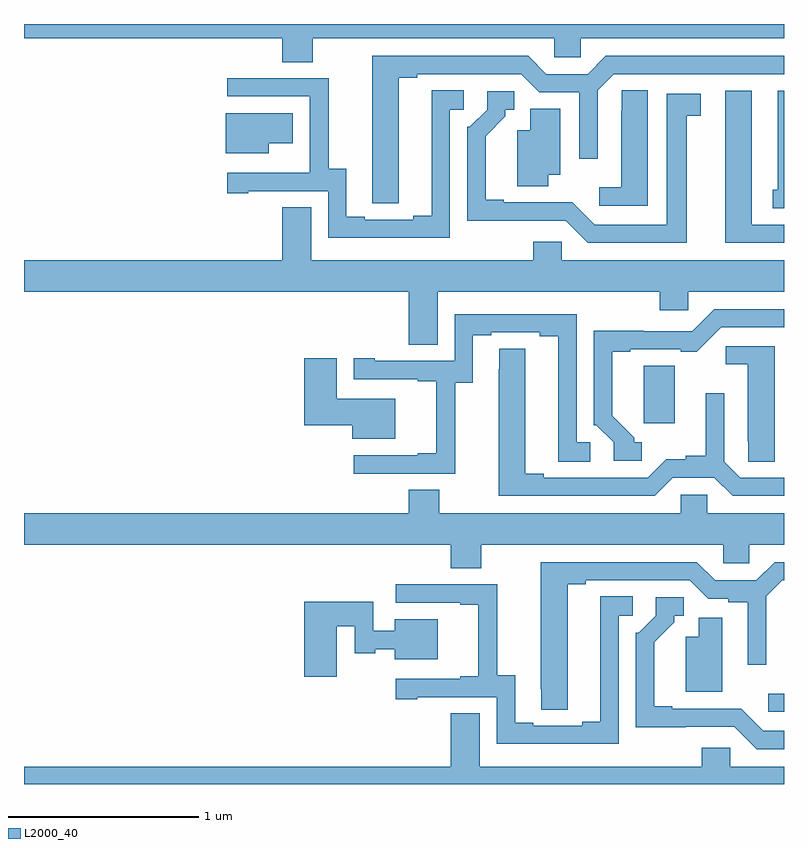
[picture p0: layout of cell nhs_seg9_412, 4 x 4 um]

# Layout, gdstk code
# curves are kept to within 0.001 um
import gdstk
lib = gdstk.Library(unit=1e-6, precision=1e-09)
def R(c, l, rs):  # rectangles x0, y0, x1, y1
    for r in rs: c.add(gdstk.rectangle(r[:2], r[2:], *l))
def P(c, l, *ps):  # polygons
    for p in ps: c.add(gdstk.Polygon(p, *l))
L2000_40 = (2000, 40)

nhs_seg9_412 = lib.new_cell('nhs_seg9_412')
R(nhs_seg9_412, L2000_40, [(134.916,1188.879,135,1188.976)])
P(nhs_seg9_412, L2000_40, [(132.519,1192.424),(133.791,1192.424),(133.791,1192.326),(133.929,1192.326),(133.929,1192.424),(135,1192.424),(135,1192.5),(131,1192.5),(131,1192.424),(132.359,1192.424),(132.359,1192.3),(132.519,1192.3)],
  [(132.973,1192.216),(133.069,1192.216),(133.069,1192.236),(133.617,1192.236),(133.713,1192.14),(133.923,1192.14),(133.923,1191.792),(134.019,1191.792),(134.019,1192.152),(134.103,1192.236),(135,1192.236),(135,1192.332),(134.063,1192.332),(133.967,1192.236),(133.749,1192.236),(133.653,1192.332),(132.833,1192.332),(132.834,1191.556),(132.973,1191.556)],
  [(133.242,1192.05),(133.315,1192.05),(133.315,1192.151),(133.145,1192.151),(133.145,1191.491),(133.049,1191.491),(133.049,1191.471),(132.793,1191.471),(132.793,1191.486),(132.697,1191.486),(132.697,1191.737),(132.603,1191.737),(132.603,1192.215),(132.069,1192.215),(132.069,1192.119),(132.504,1192.119),(132.504,1191.718),(132.503,1191.718),(132.503,1191.717),(132.069,1191.717),(132.069,1191.609),(132.181,1191.609),(132.181,1191.621),(132.6,1191.621),(132.6,1191.375),(133.242,1191.375)],
  [(134.284,1192.151),(134.145,1192.151),(134.145,1192.043),(134.144,1192.043),(134.144,1191.64),(134.028,1191.64),(134.028,1191.543),(134.284,1191.543)],
  [(135,1191.444),(134.83,1191.444),(134.83,1192.15),(134.69,1192.15),(134.69,1191.348),(135,1191.348)],
  [(135,1192.15),(134.966,1192.15),(134.966,1191.627),(134.942,1191.627),(134.942,1191.529),(135,1191.529)],
  [(134.488,1192.018),(134.563,1192.018),(134.563,1192.134),(134.384,1192.134),(134.384,1191.444),(134.004,1191.444),(133.886,1191.562),(133.525,1191.561),(133.525,1191.574),(133.429,1191.574),(133.429,1191.91),(133.534,1192.015),(133.534,1192.05),(133.579,1192.05),(133.579,1192.146),(133.437,1192.146),(133.437,1192.05),(133.347,1191.96),(133.332,1191.96),(133.332,1191.464),(133.851,1191.465),(133.968,1191.348),(134.488,1191.348)],
  [(133.759,1191.707),(133.822,1191.707),(133.822,1192.055),(133.664,1192.055),(133.664,1191.94),(133.595,1191.94),(133.595,1191.646),(133.759,1191.646)],
  [(132.289,1191.872),(132.415,1191.872),(132.415,1192.03),(132.062,1192.03),(132.062,1191.821),(132.289,1191.821)],
  [(133.679,1191.354),(133.679,1191.256),(132.511,1191.256),(132.511,1191.536),(132.359,1191.536),(132.359,1191.256),(131,1191.256),(131,1191.092),(133.025,1191.092),(133.025,1190.812),(133.177,1190.812),(133.177,1191.092),(134.345,1191.092),(134.345,1190.994),(134.496,1190.994),(134.496,1191.092),(135,1191.092),(135,1191.256),(133.83,1191.256),(133.83,1191.354)],
  [(134.251,1190.298),(134.212,1190.298),(134.212,1190.322),(134.095,1190.438),(134.095,1190.775),(134.191,1190.775),(134.191,1190.787),(134.456,1190.787),(134.456,1190.776),(134.542,1190.776),(134.67,1190.904),(135,1190.904),(135,1191),(134.634,1191),(134.517,1190.883),(134.261,1190.883),(134.261,1190.885),(133.998,1190.885),(133.998,1190.388),(134.013,1190.388),(134.103,1190.298),(134.103,1190.202),(134.251,1190.202)],
  [(133.269,1190.611),(133.363,1190.611),(133.363,1190.862),(133.459,1190.862),(133.459,1190.877),(133.715,1190.877),(133.715,1190.857),(133.811,1190.857),(133.811,1190.197),(133.981,1190.197),(133.981,1190.298),(133.908,1190.298),(133.908,1190.973),(133.266,1190.973),(133.266,1190.727),(132.847,1190.727),(132.847,1190.74),(132.735,1190.74),(132.735,1190.631),(133.073,1190.631),(133.073,1190.619),(133.169,1190.619),(133.169,1190.242),(133.073,1190.242),(133.073,1190.229),(132.735,1190.229),(132.735,1190.133),(133.269,1190.133)],
  [(134.95,1190.805),(134.694,1190.805),(134.694,1190.708),(134.81,1190.708),(134.81,1190.305),(134.811,1190.305),(134.811,1190.197),(134.95,1190.197)],
  [(134.415,1190.112),(134.633,1190.112),(134.729,1190.016),(135,1190.016),(135,1190.112),(134.769,1190.112),(134.685,1190.196),(134.685,1190.557),(134.588,1190.557),(134.588,1190.228),(134.484,1190.228),(134.484,1190.21),(134.381,1190.21),(134.283,1190.112),(133.735,1190.112),(133.735,1190.132),(133.639,1190.132),(133.639,1190.792),(133.5,1190.792),(133.499,1190.016),(134.319,1190.016)],
  [(132.955,1190.527),(132.646,1190.527),(132.646,1190.74),(132.476,1190.74),(132.476,1190.387),(132.728,1190.387),(132.728,1190.318),(132.955,1190.318)],
  [(134.425,1190.544),(134.424,1190.544),(134.424,1190.702),(134.261,1190.702),(134.261,1190.4),(134.425,1190.4)],
  [(133.407,1189.76),(134.679,1189.76),(134.679,1189.662),(134.817,1189.662),(134.817,1189.76),(135,1189.76),(135,1189.924),(134.595,1189.924),(134.595,1190.022),(134.457,1190.022),(134.457,1189.924),(133.185,1189.924),(133.185,1190.048),(133.025,1190.048),(133.025,1189.924),(131,1189.924),(131,1189.76),(133.247,1189.76),(133.247,1189.636),(133.407,1189.636)],
  [(133.861,1189.552),(133.957,1189.552),(133.957,1189.572),(134.505,1189.572),(134.601,1189.476),(134.706,1189.476),(134.706,1189.456),(134.81,1189.456),(134.81,1189.128),(134.907,1189.128),(134.907,1189.488),(134.991,1189.572),(135,1189.572),(135,1189.668),(134.951,1189.668),(134.855,1189.572),(134.637,1189.572),(134.541,1189.668),(133.721,1189.668),(133.722,1188.892),(133.861,1188.892)],
  [(134.13,1189.386),(134.203,1189.386),(134.203,1189.487),(134.033,1189.487),(134.033,1188.827),(133.937,1188.827),(133.937,1188.807),(133.681,1188.807),(133.681,1188.822),(133.585,1188.822),(133.585,1189.073),(133.491,1189.073),(133.491,1189.551),(132.957,1189.551),(132.957,1189.455),(133.295,1189.455),(133.295,1189.443),(133.391,1189.443),(133.391,1189.066),(133.295,1189.066),(133.295,1189.053),(132.957,1189.053),(132.957,1188.945),(133.069,1188.945),(133.069,1188.957),(133.488,1188.957),(133.488,1188.711),(134.13,1188.711)],
  [(135,1188.78),(134.892,1188.78),(134.775,1188.897),(134.413,1188.897),(134.413,1188.91),(134.317,1188.91),(134.317,1189.246),(134.422,1189.351),(134.422,1189.386),(134.472,1189.386),(134.472,1189.482),(134.325,1189.482),(134.325,1189.386),(134.235,1189.296),(134.22,1189.296),(134.22,1188.8),(134.739,1188.801),(134.856,1188.684),(135,1188.684)],
  [(132.646,1189.33),(132.741,1189.33),(132.741,1189.189),(132.849,1189.189),(132.849,1189.208),(132.95,1189.208),(132.95,1189.157),(133.177,1189.157),(133.177,1189.366),(132.95,1189.366),(132.95,1189.306),(132.837,1189.306),(132.837,1189.459),(132.476,1189.459),(132.476,1189.065),(132.646,1189.065)],
  [(134.674,1189.374),(134.552,1189.374),(134.552,1189.276),(134.483,1189.276),(134.483,1188.986),(134.674,1188.986)],
  [(135,1188.592),(134.718,1188.592),(134.718,1188.69),(134.567,1188.69),(134.567,1188.592),(133.399,1188.592),(133.399,1188.872),(133.247,1188.872),(133.247,1188.592),(131,1188.592),(131,1188.5),(135,1188.5)])

lib.write_gds('nhs_seg9_412.gds')
